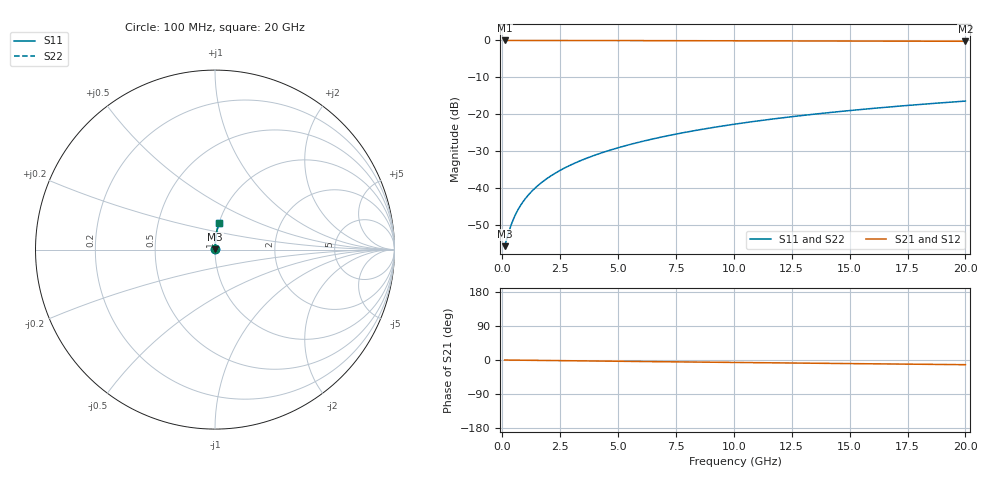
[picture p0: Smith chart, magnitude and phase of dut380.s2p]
! Touchstone file exported from HFSS 2024.1.0
!  File:  C:/UserFiles/LocalFiles/RDL_TSV_Batchsim/temp_RDL_top_380_1779609334.aedt
!  Generated:  03:58:12 PM May 24, 2026
!  Design:  RDL_top
!  Project:  temp_RDL_top_380_1779609334
!  Setup:  Setup1
!  Solution:  Sweep
! Variables:
!  dtsv = 10.80580581um
!  hbump = 3um
!  htsv = 79.13um
!  ldown = 100um
!  lrdl = 130.88um
!  p = 40
!  p1 = 46.4um
!  rhole = 1um
!  t = 450um
!  tdown = 3.915915916um
!  trdl = 2.19um
!  wdown = 15.38538539um
!  wrdl = 19.33um
# GHz S MA R 50.000000
! Terminal data exported
! Port[1] = Box2_T1
! Port[2] = Box2_T2
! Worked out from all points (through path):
!   200 points, 100 MHz to 20 GHz, reference 50 ohm
!   highest |S21| = -0.01 dB at 100 MHz (marker M1); lowest = -0.2 dB at 20 GHz (marker M2)
!   group delay of S21, straight-line fit = 1.71 ps
!   lowest |S11| = -55.7 dB at 100 MHz (marker M3), VSWR 1.00, Z = 50.1 + j0.0744 ohm
!   |S11| at or under -10 dB: start of sweep to end of sweep
!   |S22| runs from -55.7 to -16.4 dB; largest |S21 - S12| = 3.1e-15
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0.1  0.00165 26.7  0.9985 -0.1  0.9985 -0.1  0.00165 26.7
! Gamma 0 0 0 0
! Port Impedance 50 0 50 0
0.3  0.00268 55.4  0.9985 -0.2  0.9985 -0.2  0.00268 55.4
0.4  0.00331 61.9  0.9984 -0.3  0.9984 -0.3  0.00331 61.9
0.5  0.00396 66.3  0.9984 -0.4  0.9984 -0.4  0.00396 66.3
0.6  0.004618 69.4  0.9983 -0.4  0.9983 -0.4  0.004618 69.4
0.7  0.00528 71.8  0.9983 -0.5  0.9983 -0.5  0.00528 71.8
0.9  0.006608 75.1  0.9982 -0.6  0.9982 -0.6  0.006608 75.1
1.2  0.008612 78.4  0.998 -0.8  0.998 -0.8  0.008612 78.4
1.4  0.009958 79.9  0.9979 -1.0  0.9979 -1.0  0.009958 79.9
1.7  0.01199 81.6  0.9978 -1.2  0.9978 -1.2  0.01199 81.6
2.2  0.01542 83.5  0.9974 -1.5  0.9974 -1.5  0.01542 83.5
2.8  0.01958 84.9  0.997 -1.9  0.997 -1.9  0.01958 84.9
3.5  0.02452 86.0  0.9964 -2.4  0.9964 -2.4  0.02452 86.0
4.2  0.02953 86.7  0.9957 -2.8  0.9957 -2.8  0.02953 86.7
5  0.03534 87.2  0.9949 -3.3  0.9949 -3.3  0.03534 87.2
5.9  0.042 87.4  0.9938 -3.9  0.9938 -3.9  0.042 87.4
6.8  0.04876 87.4  0.9926 -4.5  0.9926 -4.5  0.04876 87.4
8.4  0.06099 87.1  0.9905 -5.5  0.9905 -5.5  0.06099 87.1
10.1  0.07419 86.5  0.988 -6.5  0.988 -6.5  0.07419 86.5
13.4  0.1 84.7  0.9832 -8.5  0.9832 -8.5  0.1 84.7
16.7  0.1258 82.6  0.9783 -10.5  0.9783 -10.5  0.1258 82.6
20  0.1512 80.5  0.9731 -12.4  0.9731 -12.4  0.1512 80.5
